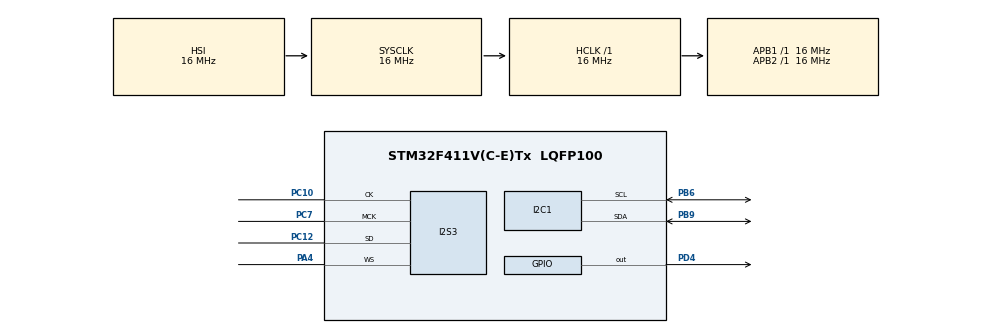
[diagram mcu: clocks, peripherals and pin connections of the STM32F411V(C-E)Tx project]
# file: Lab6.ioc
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Dma.Request0=SPI3_TX
Dma.SPI3_TX.0.Direction=DMA_MEMORY_TO_PERIPH
Dma.SPI3_TX.0.FIFOMode=DMA_FIFOMODE_ENABLE
Dma.SPI3_TX.0.FIFOThreshold=DMA_FIFO_THRESHOLD_FULL
Dma.SPI3_TX.0.Instance=DMA1_Stream5
Dma.SPI3_TX.0.MemBurst=DMA_MBURST_SINGLE
Dma.SPI3_TX.0.MemDataAlignment=DMA_MDATAALIGN_HALFWORD
Dma.SPI3_TX.0.MemInc=DMA_MINC_ENABLE
Dma.SPI3_TX.0.Mode=DMA_CIRCULAR
Dma.SPI3_TX.0.PeriphBurst=DMA_PBURST_SINGLE
Dma.SPI3_TX.0.PeriphDataAlignment=DMA_PDATAALIGN_HALFWORD
Dma.SPI3_TX.0.PeriphInc=DMA_PINC_DISABLE
Dma.SPI3_TX.0.Priority=DMA_PRIORITY_LOW
I2S3.AudioFreq=I2S_AUDIOFREQ_48K
I2S3.ErrorAudioFreq=-2.34 %
I2S3.FullDuplexMode=I2S_FULLDUPLEXMODE_DISABLE
I2S3.Instance=SPI$Index
I2S3.RealAudioFreq=46.875 KHz
I2S3.VirtualMode=I2S_MODE_MASTER
Mcu.Family=STM32F4
Mcu.Name=STM32F411V(C-E)Tx
Mcu.Package=LQFP100
NVIC.DMA1_Stream5_IRQn=true\:0\:0\:false\:false\:true\:false\:true\:true
NVIC.PriorityGroup=NVIC_PRIORITYGROUP_4
PA4.Mode=Half_Duplex_Master
PA4.Signal=I2S3_WS
PB6.Mode=I2C
PB6.Signal=I2C1_SCL
PB9.Mode=I2C
PB9.Signal=I2C1_SDA
PC10.Mode=Half_Duplex_Master
PC10.Signal=I2S3_CK
PC12.Mode=Half_Duplex_Master
PC12.Signal=I2S3_SD
PC7.Mode=Master_Clock_Activated
PC7.Signal=I2S3_MCK
PD4.Signal=GPIO_Output
ProjectManager.HeapSize=0x200
ProjectManager.StackSize=0x400
ProjectManager.TargetToolchain=STM32CubeIDE
RCC.AHBFreq_Value=16000000
RCC.APB1Freq_Value=16000000
RCC.APB2Freq_Value=16000000
RCC.CortexFreq_Value=16000000
RCC.HSE_VALUE=25000000
RCC.HSI_VALUE=16000000
RCC.LSE_VALUE=32768
RCC.SYSCLKFreq_VALUE=16000000
RCC.VCOOutputFreq_Value=192000000
board=custom

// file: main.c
/* USER CODE BEGIN Header */
/**
  ******************************************************************************
  * @file           : main.c
  * @brief          : Main program body
  ******************************************************************************
  * @attention
  *
  * Copyright (c) 2023 STMicroelectronics.
  * All rights reserved.
  *
  * This software is licensed under terms that can be found in the LICENSE file
  * in the root directory of this software component.
  * If no LICENSE file comes with this software, it is provided AS-IS.
  *
  ******************************************************************************
  */
/* USER CODE END Header */
#include "main.h"

/* USER CODE BEGIN PTD */

typedef enum
{
    C4,
    D4,
    E4,
    F4,
    G4,
    A4,
    B4,
    C5,
	MAX_VALUE
} soundToneType;

/* USER CODE END PTD */

/* USER CODE BEGIN PD */

#define CS43L22_I2C_ADDRESS		0x94
#define I2C_TIMEOUT				10

/* USER CODE END PD */

I2C_HandleTypeDef hi2c1;

I2S_HandleTypeDef hi2s3;
DMA_HandleTypeDef hdma_spi3_tx;

/* USER CODE BEGIN PV */

int16_t dataI2S[100] = {0};

/* USER CODE END PV */

void SystemClock_Config(void);
static void MX_GPIO_Init(void);
static void MX_DMA_Init(void);
static void MX_I2C1_Init(void);
static void MX_I2S3_Init(void);

/* USER CODE BEGIN 0 */
void CS43L22_Init(void)
{
	// Enable chip
	HAL_GPIO_WritePin(GPIOD, GPIO_PIN_4, GPIO_PIN_SET);

	//
	// Initialization
	//
	uint8_t TxBuffer[2];

	TxBuffer[0] = 0x0D;
	TxBuffer[1] = 0x01;
	HAL_I2C_Master_Transmit(&hi2c1, CS43L22_I2C_ADDRESS, (uint8_t*) &TxBuffer, 2, I2C_TIMEOUT);

	TxBuffer[0] = 0x00;
	TxBuffer[1] = 0x99;
	HAL_I2C_Master_Transmit(&hi2c1, CS43L22_I2C_ADDRESS, (uint8_t*) &TxBuffer, 2, I2C_TIMEOUT);

	TxBuffer[0] = 0x47;
	TxBuffer[1] = 0x80;
	HAL_I2C_Master_Transmit(&hi2c1, CS43L22_I2C_ADDRESS, (uint8_t*) &TxBuffer, 2, I2C_TIMEOUT);

	TxBuffer[0] = 0x32;
	TxBuffer[1] = 0xFF;
	HAL_I2C_Master_Transmit(&hi2c1, CS43L22_I2C_ADDRESS, (uint8_t*) &TxBuffer, 2, I2C_TIMEOUT);

	TxBuffer[0] = 0x32;
	TxBuffer[1] = 0x7F;
	HAL_I2C_Master_Transmit(&hi2c1, CS43L22_I2C_ADDRESS, (uint8_t*) &TxBuffer, 2, I2C_TIMEOUT);

	TxBuffer[0] = 0x00;
	TxBuffer[1] = 0x00;
	HAL_I2C_Master_Transmit(&hi2c1, CS43L22_I2C_ADDRESS, (uint8_t*) &TxBuffer, 2, I2C_TIMEOUT);

	TxBuffer[0] = 0x04;
	TxBuffer[1] = 0xAF;
	HAL_I2C_Master_Transmit(&hi2c1, CS43L22_I2C_ADDRESS, (uint8_t*) &TxBuffer, 2, I2C_TIMEOUT);

	TxBuffer[0] = 0x0D;
	TxBuffer[1] = 0x70;
	HAL_I2C_Master_Transmit(&hi2c1, CS43L22_I2C_ADDRESS, (uint8_t*) &TxBuffer, 2, I2C_TIMEOUT);

	TxBuffer[0] = 0x05;
	TxBuffer[1] = 0x81;
	HAL_I2C_Master_Transmit(&hi2c1, CS43L22_I2C_ADDRESS, (uint8_t*) &TxBuffer, 2, I2C_TIMEOUT);

	TxBuffer[0] = 0x06;
	TxBuffer[1] = 0x07;
	HAL_I2C_Master_Transmit(&hi2c1, CS43L22_I2C_ADDRESS, (uint8_t*) &TxBuffer, 2, I2C_TIMEOUT);

	TxBuffer[0] = 0x0A;
	TxBuffer[1] = 0x00;
	HAL_I2C_Master_Transmit(&hi2c1, CS43L22_I2C_ADDRESS, (uint8_t*) &TxBuffer, 2, I2C_TIMEOUT);

	TxBuffer[0] = 0x27;
	TxBuffer[1] = 0x00;
	HAL_I2C_Master_Transmit(&hi2c1, CS43L22_I2C_ADDRESS, (uint8_t*) &TxBuffer, 2, I2C_TIMEOUT);

	TxBuffer[0] = 0x1A;
	TxBuffer[1] = 0x0A;
	HAL_I2C_Master_Transmit(&hi2c1, CS43L22_I2C_ADDRESS, (uint8_t*) &TxBuffer, 2, I2C_TIMEOUT);

	TxBuffer[0] = 0x1B;
	TxBuffer[1] = 0x0A;
	HAL_I2C_Master_Transmit(&hi2c1, CS43L22_I2C_ADDRESS, (uint8_t*) &TxBuffer, 2, I2C_TIMEOUT);

	TxBuffer[0] = 0x1F;
	TxBuffer[1] = 0x0F;
	HAL_I2C_Master_Transmit(&hi2c1, CS43L22_I2C_ADDRESS, (uint8_t*) &TxBuffer, 2, I2C_TIMEOUT);

	TxBuffer[0] = 0x02;
	TxBuffer[1] = 0x9E;
	HAL_I2C_Master_Transmit(&hi2c1, CS43L22_I2C_ADDRESS, (uint8_t*) &TxBuffer, 2, I2C_TIMEOUT);
}

void CS43L22_Beep(soundToneType pitch, uint32_t duration_ms)
{
	uint8_t TxBuffer[2];

	// Set volume and off time
	TxBuffer[0] = 0x1D;		// Register address
	TxBuffer[1] = 0x00;		// Value (volume and off time)
	HAL_I2C_Master_Transmit(&hi2c1, CS43L22_I2C_ADDRESS, (uint8_t*) &TxBuffer, 2, I2C_TIMEOUT);

	// Set sound frequency
	TxBuffer[0] = 0x1C;		// Register address
	switch (pitch)
	{
    case C4:
        TxBuffer[1] = 0x00;
        break;
    case C5:
        TxBuffer[1] = 0x10;
        break;
    case D4:
        TxBuffer[1] = 0x20;
        break;
    case E4:
        TxBuffer[1] = 0x30;
        break;
    case F4:
        TxBuffer[1] = 0x40;
        break;
    case G4:
        TxBuffer[1] = 0x50;
        break;
    case A4:
        TxBuffer[1] = 0x60;
        break;
    case B4:
        TxBuffer[1] = 0x70;
        break;
    case MAX_VALUE:
		default:
			TxBuffer[1] = 0x00;		// Value (frequency and on time)
			break;
	}
	HAL_I2C_Master_Transmit(&hi2c1, CS43L22_I2C_ADDRESS, (uint8_t*) &TxBuffer, 2, I2C_TIMEOUT);

	// Enable continuous mode (SOUND STARTED)
	TxBuffer[0] = 0x1E;		// Register address
	TxBuffer[1] = 0xC0;		// Value (beep and tone configuration)
	HAL_I2C_Master_Transmit(&hi2c1, CS43L22_I2C_ADDRESS, (uint8_t*) &TxBuffer, 2, I2C_TIMEOUT);

	// Playing...
	HAL_Delay(duration_ms);

	// Disable continuous mode (SOUND STOPED)
	TxBuffer[0] = 0x1E;		// Register address
	TxBuffer[1] = 0x00;		// Value (beep and tone configuration)
	HAL_I2C_Master_Transmit(&hi2c1, CS43L22_I2C_ADDRESS, (uint8_t*) &TxBuffer, 2, I2C_TIMEOUT);
}
/* USER CODE END 0 */

int main(void)
{

  /* MCU Configuration--------------------------------------------------------*/

  /* Reset of all peripherals, Initializes the Flash interface and the Systick. */
  HAL_Init();

  /* Configure the system clock */
  SystemClock_Config();

  /* Initialize all configured peripherals */
  MX_GPIO_Init();
  MX_DMA_Init();
  MX_I2C1_Init();
  MX_I2S3_Init();
  /* USER CODE BEGIN 2 */
  // Init DAC
    CS43L22_Init();

  // Transmit empty data
  HAL_I2S_Transmit_DMA(&hi2s3, (uint16_t *)dataI2S, 100);
  /* USER CODE END 2 */

  /* Infinite loop */
  /* USER CODE BEGIN WHILE */
  while (1)
  {
	  CS43L22_Beep(E4, 400);  // Play C4 for 500 ms
	  HAL_Delay(100);

	  CS43L22_Beep(E4, 200);  // Play C4 for 500 ms
	  HAL_Delay(100);

	  CS43L22_Beep(E4, 200);  // Play C4 for 500 ms
 	  HAL_Delay(100);

 	 CS43L22_Beep(D4, 400);  // Play C4 for 500 ms
 	 HAL_Delay(100);

 	 CS43L22_Beep(C4, 400);  // Play C4 for 500 ms
 	 HAL_Delay(100);

 	 CS43L22_Beep(D4, 200);  // Play C4 for 500 ms
 	 HAL_Delay(100);

 	 CS43L22_Beep(D4, 200);  // Play C4 for 500 ms
 	 HAL_Delay(100);

 	 CS43L22_Beep(D4, 200);  // Play C4 for 500 ms
 	 HAL_Delay(100);

 	 CS43L22_Beep(E4, 200);  // Play C4 for 500 ms
 	 HAL_Delay(100);

 	 CS43L22_Beep(D4, 400);  // Play C4 for 500 ms
 	 HAL_Delay(100);

 	 CS43L22_Beep(C4, 400);  // Play C4 for 500 ms
 	 HAL_Delay(100);

	 CS43L22_Beep(E4, 400);  // Play C4 for 500 ms
	 HAL_Delay(100);

	 CS43L22_Beep(E4, 200);  // Play C4 for 500 ms
	 HAL_Delay(100);

	 CS43L22_Beep(E4, 200);  // Play C4 for 500 ms
	 HAL_Delay(100);

	 CS43L22_Beep(D4, 400);  // Play C4 for 500 ms
	 HAL_Delay(100);

 	 CS43L22_Beep(C4, 200);  // Play C4 for 500 ms
 	 HAL_Delay(100);

 	 CS43L22_Beep(C4, 200);  // Play C4 for 500 ms
 	 HAL_Delay(100);

	 CS43L22_Beep(D4, 400);  // Play C4 for 500 ms
	 HAL_Delay(100);

	 CS43L22_Beep(D4, 200);  // Play C4 for 500 ms
	 HAL_Delay(100);

	 CS43L22_Beep(E4, 200);  // Play C4 for 500 ms
	 HAL_Delay(100);

	 CS43L22_Beep(D4, 400);  // Play C4 for 500 ms
	 HAL_Delay(100);

	 CS43L22_Beep(C4, 400);  // Play C4 for 500 ms
	 HAL_Delay(100);

	 CS43L22_Beep(E4, 400);  // Play C4 for 500 ms
	 HAL_Delay(100);

	 CS43L22_Beep(E4, 200);  // Play C4 for 500 ms
	 HAL_Delay(100);

	 CS43L22_Beep(E4, 200);  // Play C4 for 500 ms
	 HAL_Delay(100);

	 CS43L22_Beep(D4, 400);  // Play C4 for 500 ms
	 HAL_Delay(100);

	 CS43L22_Beep(C4, 400);  // Play C4 for 500 ms
	 HAL_Delay(100);

	 CS43L22_Beep(D4, 200);  // Play C4 for 500 ms
	 HAL_Delay(100);

	 CS43L22_Beep(D4, 400);  // Play C4 for 500 ms
	 HAL_Delay(100);

	 CS43L22_Beep(E4, 200);  // Play C4 for 500 ms
	 HAL_Delay(100);

	 CS43L22_Beep(D4, 400);  // Play C4 for 500 ms
	 HAL_Delay(100);

	 CS43L22_Beep(C4, 200);  // Play C4 for 500 ms
	 HAL_Delay(100);

	 CS43L22_Beep(C4, 1600);  // Play C4 for 500 ms
	 HAL_Delay(5000);
    /* USER CODE END WHILE */

  }
}

void SystemClock_Config(void)
{
  RCC_OscInitTypeDef RCC_OscInitStruct = {0};
  RCC_ClkInitTypeDef RCC_ClkInitStruct = {0};

  /** Macro to configure the PLL multiplication factor
  */
  __HAL_RCC_PLL_PLLM_CONFIG(16);

  /** Macro to configure the PLL clock source
  */
  __HAL_RCC_PLL_PLLSOURCE_CONFIG(RCC_PLLSOURCE_HSI);

  /** Configure the main internal regulator output voltage
  */
  __HAL_RCC_PWR_CLK_ENABLE();
  __HAL_PWR_VOLTAGESCALING_CONFIG(PWR_REGULATOR_VOLTAGE_SCALE1);

  /** Initializes the RCC Oscillators according to the specified parameters
  * in the RCC_OscInitTypeDef structure.
  */
  RCC_OscInitStruct.OscillatorType = RCC_OSCILLATORTYPE_HSI;
  RCC_OscInitStruct.HSIState = RCC_HSI_ON;
  RCC_OscInitStruct.HSICalibrationValue = RCC_HSICALIBRATION_DEFAULT;
  RCC_OscInitStruct.PLL.PLLState = RCC_PLL_NONE;
  RCC_OscInitStruct.PLL.PLLSource = RCC_PLLSOURCE_HSI;
  if (HAL_RCC_OscConfig(&RCC_OscInitStruct) != HAL_OK)
  {
    Error_Handler();
  }

  /** Initializes the CPU, AHB and APB buses clocks
  */
  RCC_ClkInitStruct.ClockType = RCC_CLOCKTYPE_HCLK|RCC_CLOCKTYPE_SYSCLK
                              |RCC_CLOCKTYPE_PCLK1|RCC_CLOCKTYPE_PCLK2;
  RCC_ClkInitStruct.SYSCLKSource = RCC_SYSCLKSOURCE_HSI;
  RCC_ClkInitStruct.AHBCLKDivider = RCC_SYSCLK_DIV1;
  RCC_ClkInitStruct.APB1CLKDivider = RCC_HCLK_DIV1;
  RCC_ClkInitStruct.APB2CLKDivider = RCC_HCLK_DIV1;

  if (HAL_RCC_ClockConfig(&RCC_ClkInitStruct, FLASH_LATENCY_0) != HAL_OK)
  {
    Error_Handler();
  }
}

static void MX_I2C1_Init(void)
{

  hi2c1.Instance = I2C1;
  hi2c1.Init.ClockSpeed = 100000;
  hi2c1.Init.DutyCycle = I2C_DUTYCYCLE_2;
  hi2c1.Init.OwnAddress1 = 0;
  hi2c1.Init.AddressingMode = I2C_ADDRESSINGMODE_7BIT;
  hi2c1.Init.DualAddressMode = I2C_DUALADDRESS_DISABLE;
  hi2c1.Init.OwnAddress2 = 0;
  hi2c1.Init.GeneralCallMode = I2C_GENERALCALL_DISABLE;
  hi2c1.Init.NoStretchMode = I2C_NOSTRETCH_DISABLE;
  if (HAL_I2C_Init(&hi2c1) != HAL_OK)
  {
    Error_Handler();
  }

}

static void MX_I2S3_Init(void)
{

  hi2s3.Instance = SPI3;
  hi2s3.Init.Mode = I2S_MODE_MASTER_TX;
  hi2s3.Init.Standard = I2S_STANDARD_PHILIPS;
  hi2s3.Init.DataFormat = I2S_DATAFORMAT_16B;
  hi2s3.Init.MCLKOutput = I2S_MCLKOUTPUT_ENABLE;
  hi2s3.Init.AudioFreq = I2S_AUDIOFREQ_48K;
  hi2s3.Init.CPOL = I2S_CPOL_LOW;
  hi2s3.Init.ClockSource = I2S_CLOCK_PLL;
  hi2s3.Init.FullDuplexMode = I2S_FULLDUPLEXMODE_DISABLE;
  if (HAL_I2S_Init(&hi2s3) != HAL_OK)
  {
    Error_Handler();
  }

}

static void MX_DMA_Init(void)
{

  /* DMA controller clock enable */
  __HAL_RCC_DMA1_CLK_ENABLE();

  /* DMA interrupt init */
  /* DMA1_Stream5_IRQn interrupt configuration */
  HAL_NVIC_SetPriority(DMA1_Stream5_IRQn, 0, 0);
  HAL_NVIC_EnableIRQ(DMA1_Stream5_IRQn);

}

static void MX_GPIO_Init(void)
{
  GPIO_InitTypeDef GPIO_InitStruct = {0};

  /* GPIO Ports Clock Enable */
  __HAL_RCC_GPIOA_CLK_ENABLE();
  __HAL_RCC_GPIOC_CLK_ENABLE();
  __HAL_RCC_GPIOD_CLK_ENABLE();
  __HAL_RCC_GPIOB_CLK_ENABLE();

  /*Configure GPIO pin Output Level */
  HAL_GPIO_WritePin(GPIOD, GPIO_PIN_4, GPIO_PIN_RESET);

  /*Configure GPIO pin : PD4 */
  GPIO_InitStruct.Pin = GPIO_PIN_4;
  GPIO_InitStruct.Mode = GPIO_MODE_OUTPUT_PP;
  GPIO_InitStruct.Pull = GPIO_NOPULL;
  GPIO_InitStruct.Speed = GPIO_SPEED_FREQ_LOW;
  HAL_GPIO_Init(GPIOD, &GPIO_InitStruct);

}

void Error_Handler(void)
{
  __disable_irq();
  while (1)
  {
  }
}
